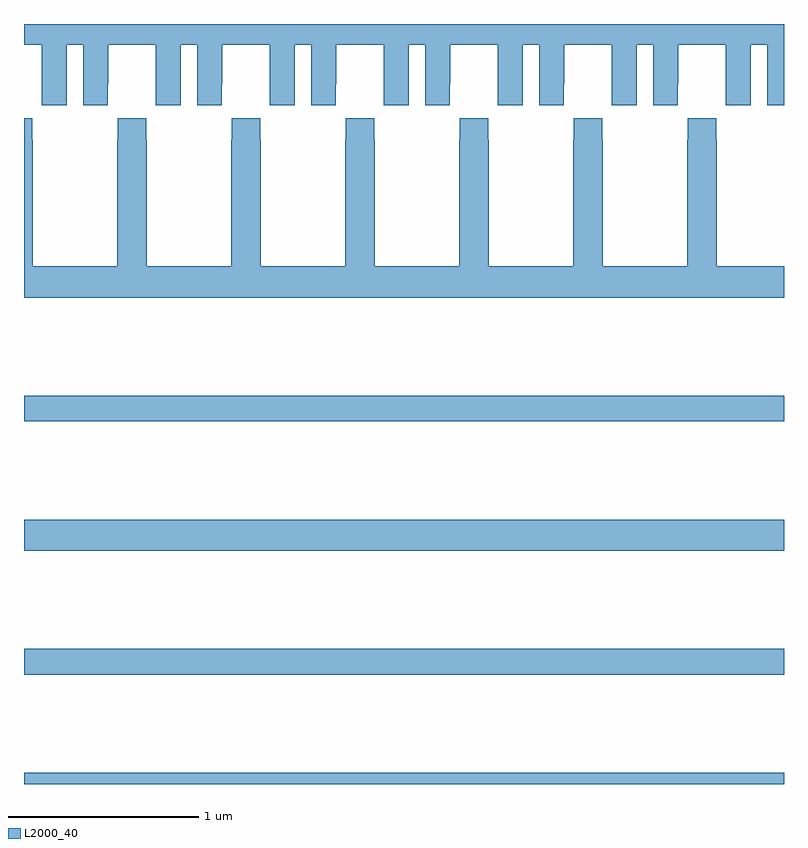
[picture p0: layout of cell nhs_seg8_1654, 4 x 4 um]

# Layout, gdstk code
import gdstk
lib = gdstk.Library(unit=1e-6, precision=1e-09)
def R(c, l, rs):  # rectangles x0, y0, x1, y1
    for r in rs: c.add(gdstk.rectangle(r[:2], r[2:], *l))
def P(c, l, *ps):  # polygons
    for p in ps: c.add(gdstk.Polygon(p, *l))
L2000_40 = (2000, 40)

nhs_seg8_1654 = lib.new_cell('nhs_seg8_1654')
R(nhs_seg8_1654, L2000_40, [(215,1153.9,219,1153.96), (215,1154.476,219,1154.612), (215,1155.128,219,1155.292), (215,1155.808,219,1155.944)])
P(nhs_seg8_1654, L2000_40, [(215.224,1157.792),(215.312,1157.792),(215.312,1157.472),(215.442,1157.472),(215.442,1157.584),(215.443,1157.584),(215.443,1157.792),(215.693,1157.792),(215.693,1157.584),(215.694,1157.584),(215.694,1157.472),(215.824,1157.472),(215.824,1157.792),(215.912,1157.792),(215.912,1157.472),(216.042,1157.472),(216.042,1157.584),(216.043,1157.584),(216.043,1157.792),(216.293,1157.792),(216.293,1157.584),(216.294,1157.584),(216.294,1157.472),(216.424,1157.472),(216.424,1157.792),(216.512,1157.792),(216.512,1157.472),(216.642,1157.472),(216.642,1157.584),(216.643,1157.584),(216.643,1157.792),(216.893,1157.792),(216.893,1157.584),(216.894,1157.584),(216.894,1157.472),(217.024,1157.472),(217.024,1157.792),(217.112,1157.792),(217.112,1157.472),(217.242,1157.472),(217.242,1157.584),(217.243,1157.584),(217.243,1157.792),(217.493,1157.792),(217.493,1157.584),(217.494,1157.584),(217.494,1157.472),(217.624,1157.472),(217.624,1157.792),(217.712,1157.792),(217.712,1157.472),(217.842,1157.472),(217.842,1157.584),(217.843,1157.584),(217.843,1157.792),(218.093,1157.792),(218.093,1157.584),(218.094,1157.584),(218.094,1157.472),(218.224,1157.472),(218.224,1157.792),(218.312,1157.792),(218.312,1157.472),(218.442,1157.472),(218.442,1157.584),(218.443,1157.584),(218.443,1157.792),(218.693,1157.792),(218.693,1157.584),(218.694,1157.584),(218.694,1157.472),(218.824,1157.472),(218.824,1157.792),(218.912,1157.792),(218.912,1157.472),(219,1157.472),(219,1157.9),(215,1157.9),(215,1157.792),(215.093,1157.792),(215.093,1157.584),(215.094,1157.584),(215.094,1157.472),(215.224,1157.472)],
  [(219,1156.624),(218.646,1156.624),(218.646,1157.291),(218.643,1157.291),(218.643,1157.404),(218.493,1157.404),(218.493,1157.291),(218.491,1157.291),(218.491,1156.624),(218.046,1156.624),(218.046,1157.291),(218.043,1157.291),(218.043,1157.404),(217.893,1157.404),(217.893,1157.291),(217.891,1157.291),(217.891,1156.624),(217.446,1156.624),(217.446,1157.291),(217.443,1157.291),(217.443,1157.404),(217.293,1157.404),(217.293,1157.291),(217.291,1157.291),(217.291,1156.624),(216.846,1156.624),(216.846,1157.291),(216.843,1157.291),(216.843,1157.404),(216.693,1157.404),(216.693,1157.291),(216.691,1157.291),(216.691,1156.624),(216.246,1156.624),(216.246,1157.291),(216.243,1157.291),(216.243,1157.404),(216.093,1157.404),(216.093,1157.291),(216.091,1157.291),(216.091,1156.624),(215.646,1156.624),(215.646,1157.291),(215.643,1157.291),(215.643,1157.404),(215.493,1157.404),(215.493,1157.291),(215.491,1157.291),(215.491,1156.624),(215.046,1156.624),(215.046,1157.291),(215.043,1157.291),(215.043,1157.404),(215,1157.404),(215,1156.46),(219,1156.46)])

lib.write_gds('nhs_seg8_1654.gds')
